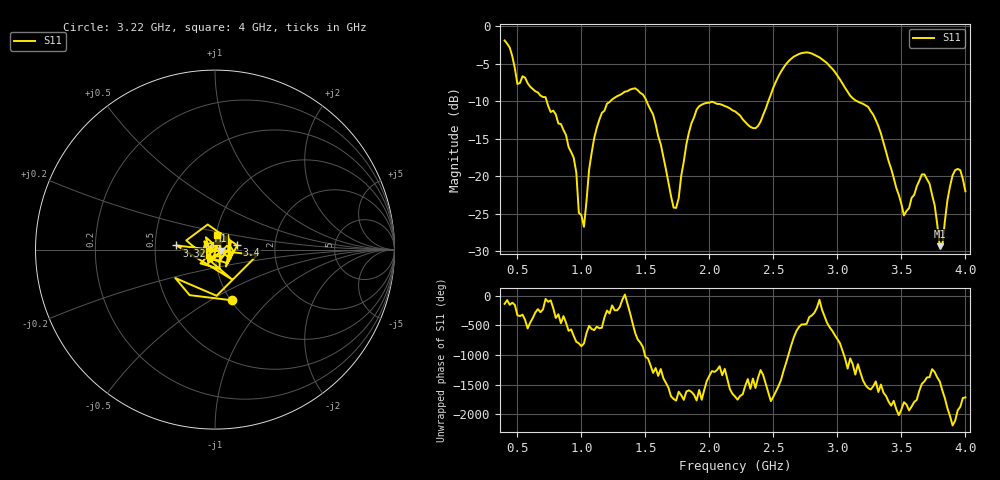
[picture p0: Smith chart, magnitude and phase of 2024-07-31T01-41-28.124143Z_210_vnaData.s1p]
!Created with skrf (http://scikit-rf.org).
# Hz S RI R 50.0
!freq ReS11 ImS11
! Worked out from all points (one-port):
!   181 points, 400 MHz to 4 GHz, reference 50 ohm
!   lowest |S11| = -29.3 dB at 3.8 GHz (marker M1), VSWR 1.07, Z = 53.5 - j0.603 ohm
!   |S11| at or under -10 dB: 729.6 MHz to 1.225 GHz (495.9 MHz wide, 50.7 % of centre); 1.51 GHz to 2.46 GHz (950.5 MHz wide, 47.9 % of centre); 3.156 GHz to end of sweep
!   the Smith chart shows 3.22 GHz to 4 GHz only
!   S11 on the Smith chart (normalised r, x): 3.22 GHz: 1.01, -0.63; 3.32 GHz: 0.65, +0.03; 3.4 GHz: 1.28, +0.06; 4 GHz: 1.01, +0.16
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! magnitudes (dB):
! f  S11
! 400 MHz  -1.9
! 500 MHz  -7.7
! 860 MHz  -13.8
! 940 MHz  -17.5
! 980 MHz  -24.9
! 1.02 GHz  -26.8
! 1.06 GHz  -19.1
! 1.12 GHz  -13.5
! 1.3 GHz  -9.2
! 1.5 GHz  -9.6
! 1.72 GHz  -24.2
! 1.76 GHz  -22.9
! 1.9 GHz  -11.1
! 2.2 GHz  -11.3
! 2.38 GHz  -13.3
! 2.66 GHz  -4.0
! 2.86 GHz  -4.1
! 3.1 GHz  -9.2
! 3.22 GHz  -10.5
! 3.32 GHz  -13.3
! 3.4 GHz  -18.0
! 3.52 GHz  -25.2
! 3.56 GHz  -24.3
! 3.68 GHz  -19.8
! 3.76 GHz  -23.9
! 3.8 GHz  -29.3
! 3.9 GHz  -19.9
! 4 GHz  -22.0
